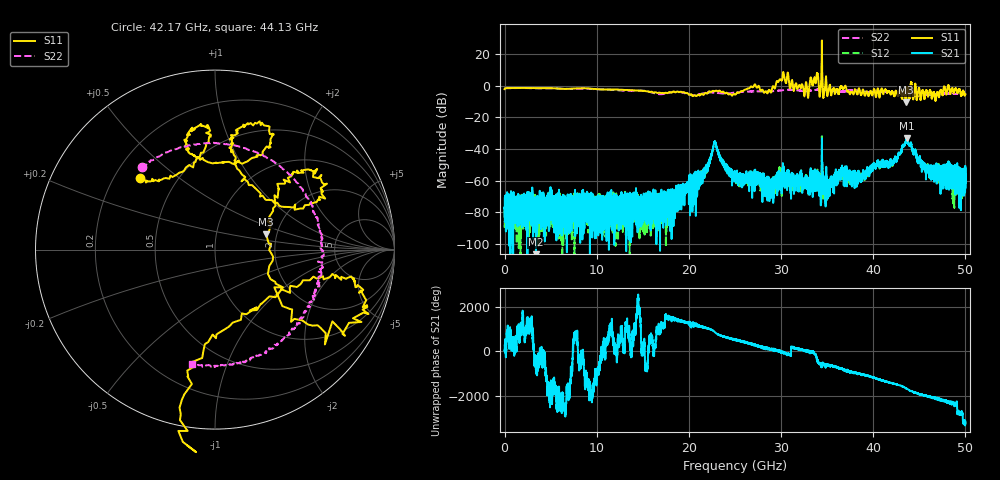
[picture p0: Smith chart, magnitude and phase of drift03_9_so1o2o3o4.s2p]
!Created with skrf (http://scikit-rf.org).
# Hz S RI R 50.0
!freq ReS11 ImS11 ReS21 ImS21 ReS12 ImS12 ReS22 ImS22
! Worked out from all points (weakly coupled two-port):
!   10000 points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, 5.3 MHz to 50 GHz, reference 50 ohm
!   highest |S21| = -33.01 dB at 43.64 GHz (marker M1); lowest = -114.3 dB at 3.405 GHz (marker M2)
!   lowest |S11| = -10.5 dB at 43.52 GHz (marker M3), VSWR 1.85, Z = 87.9 + j16.3 ohm
!   |S11| at or under -10 dB: 43.51009 GHz to 43.53639 GHz (26.29 MHz wide, 0.0604 % of centre); 43.54988 GHz to 43.55027 GHz (393.8 kHz wide, 0.000904 % of centre)
!   |S22| runs from -5.9 to -1.3 dB; largest |S21 - S12| = 0.016
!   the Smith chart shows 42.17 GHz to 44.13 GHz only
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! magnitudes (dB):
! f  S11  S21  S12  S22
! 5.3 MHz  -2.1  -77.9  -89.8  -2.1
! 3.405 GHz  -1.4  -114.3  -74.0  -1.5
! 8.34 GHz  -1.5  -80.2  -71.5  -1.9
! 16.67 GHz  -4.4  -77.2  -75.6  -5.2
! 20.93 GHz  -5.8  -63.3  -58.8  -5.6
! 21.92 GHz  -4.8  -51.9  -51.7  -4.4
! 22.82 GHz  -3.4  -35.3  -35.5  -4.5
! 25.01 GHz  -5.5  -58.7  -57.5  -4.3
! 27.02 GHz  -0.4  -60.7  -60.5  -3.5
! 28.72 GHz  -2.5  -62.3  -64.5  -3.6
! 30.14 GHz  4.3  -63.0  -58.5  -2.8
! 32.74 GHz  2.1  -60.6  -59.2  -3.3
! 33.34 GHz  2.5  -57.3  -58.9  -2.9
! 34.94 GHz  -0.2  -60.6  -59.2  -2.4
! 36.45 GHz  -0.9  -54.9  -56.2  -3.7
! 38.43 GHz  -1.8  -54.5  -57.3  -3.1
! 41.67 GHz  -3.4  -50.5  -51.5  -3.7
! 43.52 GHz  -10.5  -35.7  -35.6  -4.4
! 43.64 GHz  -2.7  -33.0  -33.4  -4.0
! 46.28 GHz  -5.3  -52.9  -52.9  -5.7
! 49.65 GHz  -4.5  -65.4  -57.5  -5.1
! 50 GHz  -5.4  -52.3  -55.1  -5.0
